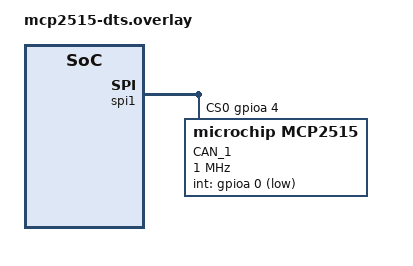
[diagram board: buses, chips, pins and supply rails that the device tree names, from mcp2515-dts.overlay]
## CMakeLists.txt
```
# SPDX-License-Identifier: Apache-2.0

cmake_minimum_required(VERSION 3.13.1)


include($ENV{ZEPHYR_BASE}/cmake/app/boilerplate.cmake NO_POLICY_SCOPE)
project(CAN)

target_sources(app PRIVATE src/main.c)
```

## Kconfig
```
# Kconfig - Private config options for can sample app

#
# Copyright (c) 2018 Alexander Wachter
#
# SPDX-License-Identifier: Apache-2.0
#

mainmenu "Controller Area Network sample application"

config LOOPBACK_MODE
	bool "Loopback LOOPBACK_MODE"
	default y
	help
	  Set the controller to loopback mode.
	  This allows testing without a second board.

source "Kconfig.zephyr"
```

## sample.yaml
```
sample:
  name: CAN driver sample
tests:
  sample.drivers.can:
    tags: CAN
    depends_on: can
    harness: console
    harness_config:
      type: one_line
      regex:
        - "Counter received: (.*)"
```

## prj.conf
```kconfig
CONFIG_CAN=y
CONFIG_CAN_INIT_PRIORITY=80
CONFIG_CAN_MAX_FILTER=5

CONFIG_SHELL=y
CONFIG_CAN_SHELL=y
CONFIG_DEVICE_SHELL=y
CONFIG_SYS_TIMEOUT_LEGACY_API=y
```

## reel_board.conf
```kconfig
CONFIG_CAN=y
CONFIG_CAN_INIT_PRIORITY=80
CONFIG_CAN_1=y
CONFIG_CAN_MAX_FILTER=5

CONFIG_SPI=y
CONFIG_SPI_1=y
CONFIG_CAN_MCP2515=y
CONFIG_STDOUT_CONSOLE=y
CONFIG_PRINTK=y
CONFIG_LOG=y
CONFIG_CAN_LOG_LEVEL_DBG=y

CONFIG_CAN_DEV="CAN_1"
CONFIG_GPIO_LED_DEV="GPIO_0"
CONFIG_GPIO_BUTTON_DEV="GPIO_0"
CONFIG_PIN_USER_BUTTON=7
CONFIG_PIN_LED_1=11
CONFIG_LOOPBACK_MODE=y
```

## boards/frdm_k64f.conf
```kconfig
CONFIG_CAN_DEV="CAN_0"
CONFIG_GPIO_LED_DEV="GPIO_4"
CONFIG_GPIO_BUTTON_DEV="GPIO_2"
CONFIG_PIN_USER_BUTTON=6
CONFIG_PIN_LED_1=26

CONFIG_LOG=y
CONFIG_LOG_BUFFER_SIZE=2048

CONFIG_CAN_0=y
CONFIG_CAN_1=n
```

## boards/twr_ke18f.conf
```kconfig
CONFIG_CAN_DEV="CAN_0"
CONFIG_GPIO_LED_DEV="GPIO_2"
CONFIG_GPIO_BUTTON_DEV="GPIO_3"
CONFIG_PIN_USER_BUTTON=3
CONFIG_PIN_LED_1=13

CONFIG_LOG=y
CONFIG_LOG_BUFFER_SIZE=2048

CONFIG_CAN_0=y
CONFIG_CAN_1=n
```

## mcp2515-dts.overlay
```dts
/*
 * Copyright (c) 2019 Karsten Koenig
 *
 * SPDX-License-Identifier: Apache-2.0
 */

&spi1 {
	status = "okay";
	cs-gpios = <&gpioa 4 0>;
	mcp2515@0 {
		compatible = "microchip,mcp2515";
		spi-max-frequency = <1000000>;
		int-gpios = <&gpioa 0 GPIO_INT_ACTIVE_LOW>;
		status = "okay";
		label = "CAN_1";
		reg = <0>;
		osc-freq = <8000000>;
		bus-speed = <125000>;
		sjw = <1>;
		prop-seg = <2>;
		phase-seg1 = <7>;
		phase-seg2 = <6>;
		#address-cells = <1>;
		#size-cells = <0>;
	};
};
```

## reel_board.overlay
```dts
/*
 * Copyright (c) 2019 Phytec Messtechnik GmbH
 *
 * SPDX-License-Identifier: Apache-2.0
 */

&spi1 {
	status = "ok";
	cs-gpios = <&gpio1 3 0>;
	sck-pin = <36>;
	mosi-pin = <37>;
	miso-pin = <38>;

	mcp2515@0 {
		compatible = "microchip,mcp2515";
		spi-port-name = "SPI_1";
		spi-max-frequency = <1000000>;
		int-gpios = <&gpio1 7 1>;
		status = "ok";
		label = "CAN_1";
		reg = <0>;
		bus-speed = <250000>;
	};
};
```

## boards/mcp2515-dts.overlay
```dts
/*
 * Copyright (c) 2019 Karsten Koenig
 *
 * SPDX-License-Identifier: Apache-2.0
 */

&spi1 {
	status = "okay";
	cs-gpios = <&gpio0 28 GPIO_DIR_OUT>;
	mcp2515@0 {
		compatible = "microchip,mcp2515";
		spi-port-name = "SPI_1";
		spi-max-frequency = <1000000>;
		int-gpios = <&gpio0 4 GPIO_INT_ACTIVE_LOW>;
		status = "okay";
		label = "CAN_1";
		reg = <0>;
		bus-speed = <250000>;
	};
};
```

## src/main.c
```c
/*
 * Copyright (c) 2018 Alexander Wachter
 *
 * SPDX-License-Identifier: Apache-2.0
 */

#include <zephyr.h>
#include <kernel.h>
#include <sys/printk.h>
#include <device.h>
#include <drivers/can.h>
#include <drivers/gpio.h>
#include <sys/byteorder.h>

#define RX_THREAD_STACK_SIZE 512
#define RX_THREAD_PRIORITY 2
#define STATE_POLL_THREAD_STACK_SIZE 512
#define STATE_POLL_THREAD_PRIORITY 2
#define LED_MSG_ID 0x10
#define COUNTER_MSG_ID 0x12345
#define SET_LED 1
#define RESET_LED 0
#define SLEEP_TIME K_MSEC(250)

K_THREAD_STACK_DEFINE(rx_thread_stack, RX_THREAD_STACK_SIZE);
K_THREAD_STACK_DEFINE(poll_state_stack, STATE_POLL_THREAD_STACK_SIZE);

struct device *can_dev;

struct k_thread rx_thread_data;
struct k_thread poll_state_thread_data;
struct zcan_work rx_work;
struct k_work state_change_work;
enum can_state current_state;
struct can_bus_err_cnt current_err_cnt;

CAN_DEFINE_MSGQ(counter_msgq, 2);

void tx_irq_callback(u32_t error_flags, void *arg)
{
	char *sender = (char *)arg;

	if (error_flags) {
		printk("Callback! error-code: %d\nSender: %s\n",
		       error_flags, sender);
	}
}

void rx_thread(void *arg1, void *arg2, void *arg3)
{
	ARG_UNUSED(arg1);
	ARG_UNUSED(arg2);
	ARG_UNUSED(arg3);
	const struct zcan_filter filter = {
		.id_type = CAN_EXTENDED_IDENTIFIER,
		.rtr = CAN_DATAFRAME,
		.ext_id = COUNTER_MSG_ID,
		.rtr_mask = 1,
		.ext_id_mask = CAN_EXT_ID_MASK
	};
	struct zcan_frame msg;
	int filter_id;

	filter_id = can_attach_msgq(can_dev, &counter_msgq, &filter);
	printk("Counter filter id: %d\n", filter_id);

	while (1) {
		k_msgq_get(&counter_msgq, &msg, K_FOREVER);

		if (msg.dlc != 2U) {
			printk("Wrong data length: %u\n", msg.dlc);
			continue;
		}

		printk("Counter received: %u\n",
		       sys_be16_to_cpu(UNALIGNED_GET((u16_t *)&msg.data)));
	}
}

void change_led(struct zcan_frame *msg, void *led_dev_param)
{
	struct device *led_dev = (struct device *)led_dev_param;

#if defined(DT_ALIAS_LED0_GPIOS_PIN) && defined(DT_ALIAS_LED0_GPIOS_CONTROLLER)

	if (!led_dev_param) {
		printk("No LED GPIO device\n");
		return;
	}

	switch (msg->data[0]) {
	case SET_LED:
		gpio_pin_set(led_dev, DT_ALIAS_LED0_GPIOS_PIN, 1);
		break;
	case RESET_LED:
		gpio_pin_set(led_dev, DT_ALIAS_LED0_GPIOS_PIN, 0);
		break;
	}
#else
	printk("LED %s\n", msg->data[0] == SET_LED ? "ON" : "OFF");
#endif
}

char *state_to_str(enum can_state state)
{
	switch (state) {
	case CAN_ERROR_ACTIVE:
		return "error-active";
	case CAN_ERROR_PASSIVE:
		return "error-passive";
	case CAN_BUS_OFF:
		return "bus-off";
	default:
		return "unknown";
	}
}

void poll_state_thread(void *unused1, void *unused2, void *unused3)
{
	struct can_bus_err_cnt err_cnt = {0, 0};
	struct can_bus_err_cnt err_cnt_prev = {0, 0};
	enum can_state state_prev = CAN_ERROR_ACTIVE;
	enum can_state state;

	while (1) {
		state = can_get_state(can_dev, &err_cnt);
		if (err_cnt.tx_err_cnt != err_cnt_prev.tx_err_cnt ||
		    err_cnt.rx_err_cnt != err_cnt_prev.rx_err_cnt ||
		    state_prev != state) {

			err_cnt_prev.tx_err_cnt = err_cnt.tx_err_cnt;
			err_cnt_prev.rx_err_cnt = err_cnt.rx_err_cnt;
			state_prev = state;
			printk("state: %s\n"
			       "rx error count: %d\n"
			       "tx error count: %d\n",
			       state_to_str(state),
			       err_cnt.rx_err_cnt, err_cnt.tx_err_cnt);
		} else {
			k_sleep(K_MSEC(100));
		}
	}
}

void state_change_work_handler(struct k_work *work)
{
	printk("State Change ISR\nstate: %s\n"
	       "rx error count: %d\n"
	       "tx error count: %d\n",
		state_to_str(current_state),
		current_err_cnt.rx_err_cnt, current_err_cnt.tx_err_cnt);

#ifndef CONFIG_CAN_AUTO_BUS_OFF_RECOVERY
	if (current_state == CAN_BUS_OFF) {
		printk("Recover from bus-off\n");

		if (can_recover(can_dev, K_MSEC(100) != 0)) {
			printk("Recovery timed out\n");
		}
	}
#endif /* CONFIG_CAN_AUTO_BUS_OFF_RECOVERY */
}

void state_change_isr(enum can_state state, struct can_bus_err_cnt err_cnt)
{
	current_state = state;
	current_err_cnt = err_cnt;
	k_work_submit(&state_change_work);
}

void main(void)
{
	const struct zcan_filter change_led_filter = {
		.id_type = CAN_STANDARD_IDENTIFIER,
		.rtr = CAN_DATAFRAME,
		.std_id = LED_MSG_ID,
		.rtr_mask = 1,
		.std_id_mask = CAN_STD_ID_MASK
	};
	struct zcan_frame change_led_frame = {
		.id_type = CAN_STANDARD_IDENTIFIER,
		.rtr = CAN_DATAFRAME,
		.std_id = LED_MSG_ID,
		.dlc = 1
	};
	struct zcan_frame counter_frame = {
		.id_type = CAN_EXTENDED_IDENTIFIER,
		.rtr = CAN_DATAFRAME,
		.ext_id = COUNTER_MSG_ID,
		.dlc = 2
	};
	u8_t toggle = 1;
	u16_t counter = 0;
	struct device *led_gpio_dev = NULL;
	k_tid_t rx_tid, get_state_tid;
	int ret;

	can_dev = device_get_binding(DT_ALIAS_CAN_PRIMARY_LABEL);

	if (!can_dev) {
		printk("CAN: Device driver not found.\n");
		return;
	}

#ifdef CONFIG_LOOPBACK_MODE
	can_configure(can_dev, CAN_LOOPBACK_MODE, 125000);
#endif

#if defined(DT_ALIAS_LED0_GPIOS_PIN) && defined(DT_ALIAS_LED0_GPIOS_CONTROLLER)
	led_gpio_dev = device_get_binding(DT_ALIAS_LED0_GPIOS_CONTROLLER);
	if (!led_gpio_dev) {
		printk("LED: Device driver not found.\n");
		return;
	}

	ret = gpio_pin_configure(led_gpio_dev, DT_ALIAS_LED0_GPIOS_PIN,
				 GPIO_OUTPUT_HIGH | DT_ALIAS_LED0_GPIOS_FLAGS);
	if (ret < 0) {
		printk("Error setting LED pin to output mode [%d]", ret);
	}
#endif

	k_work_init(&state_change_work, state_change_work_handler);

	ret = can_attach_workq(can_dev, &k_sys_work_q, &rx_work, change_led,
			       led_gpio_dev, &change_led_filter);
	if (ret == CAN_NO_FREE_FILTER) {
		printk("Error, no filter available!\n");
		return;
	}

	printk("Change LED filter ID: %d\n", ret);

	rx_tid = k_thread_create(&rx_thread_data, rx_thread_stack,
				 K_THREAD_STACK_SIZEOF(rx_thread_stack),
				 rx_thread, NULL, NULL, NULL,
				 RX_THREAD_PRIORITY, 0, K_NO_WAIT);
	if (!rx_tid) {
		printk("ERROR spawning rx thread\n");
	}


	get_state_tid = k_thread_create(&poll_state_thread_data,
					poll_state_stack,
					K_THREAD_STACK_SIZEOF(poll_state_stack),
					poll_state_thread, NULL, NULL, NULL,
					STATE_POLL_THREAD_PRIORITY, 0,
					K_NO_WAIT);
	if (!get_state_tid) {
		printk("ERROR spawning poll_state_thread\n");
	}

	can_register_state_change_isr(can_dev, state_change_isr);

	printk("Finished init.\n");

	while (1) {
		change_led_frame.data[0] = toggle++ & 0x01 ? SET_LED : RESET_LED;
		/* This sending call is none blocking. */
		can_send(can_dev, &change_led_frame, SYS_FOREVER_MS,
			 tx_irq_callback,
			 "LED change");
		k_sleep(SLEEP_TIME);

		UNALIGNED_PUT(sys_cpu_to_be16(counter),
			      (u16_t *)&counter_frame.data[0]);
		counter++;
		/* This sending call is blocking until the message is sent. */
		can_send(can_dev, &counter_frame, K_MSEC(100), NULL, NULL);
		k_sleep(SLEEP_TIME);
	}
}
```
